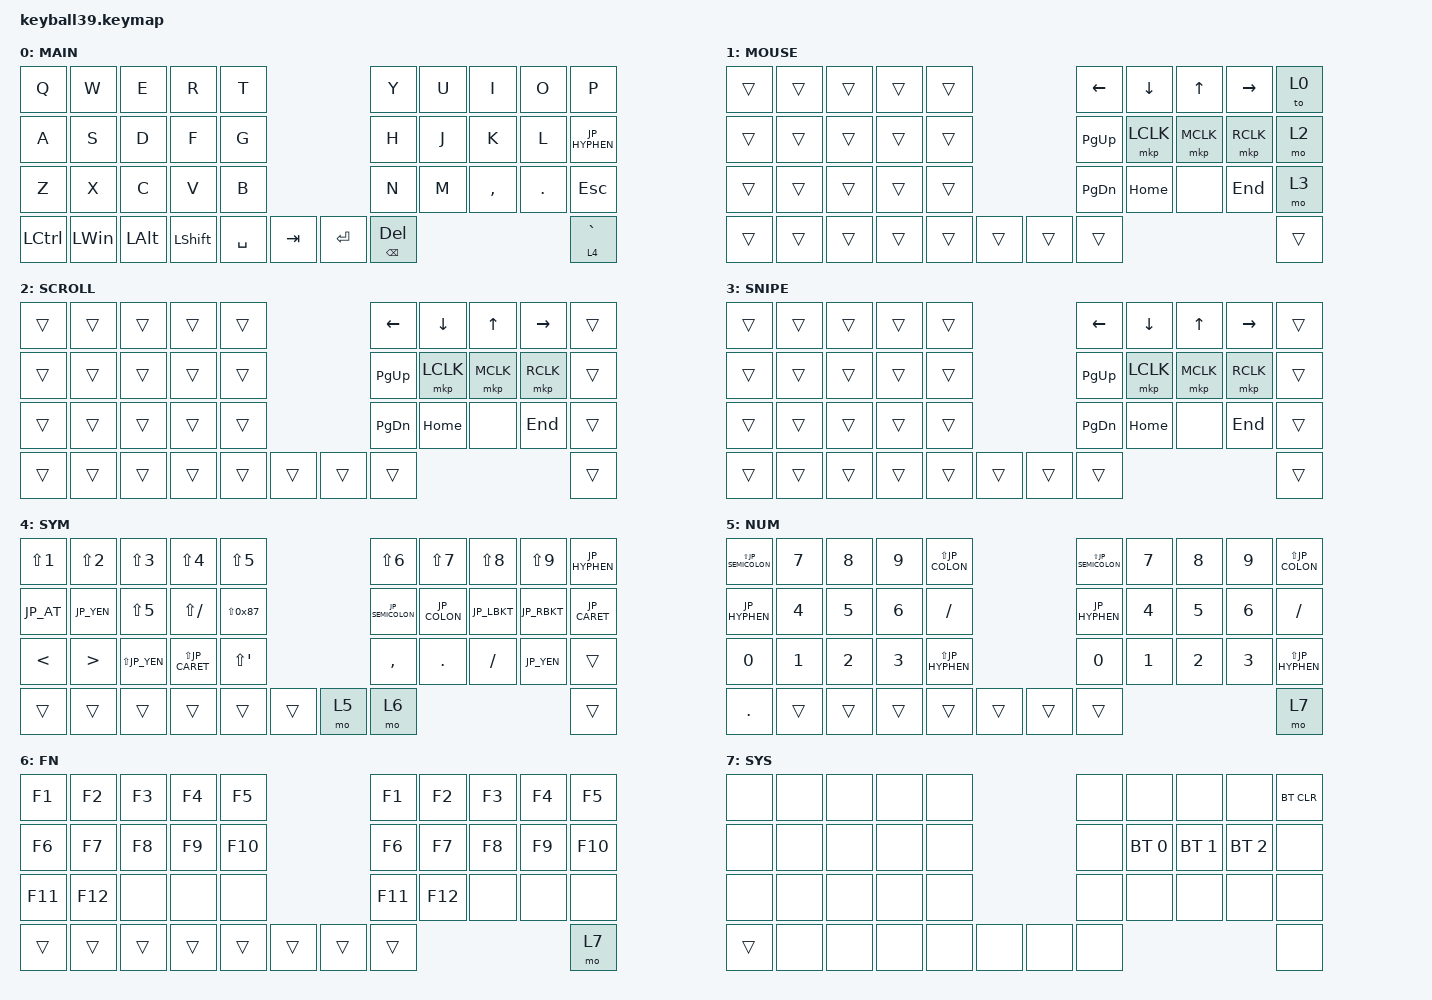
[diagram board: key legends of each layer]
#define MAIN_LAYER   0
#define MOUSE_LAYER  1
#define SCROLL_LAYER 2
#define SNIPE_LAYER  3
#define SYM_LAYER    4
#define NUM_LAYER    5
#define FN_LAYER     6
#define SYS_LAYER    7

#include <behaviors/mouse_keys.dtsi>
#include <dt-bindings/zmk/mouse.h>
#include <behaviors.dtsi>
#include <dt-bindings/zmk/bt.h>
#include <dt-bindings/zmk/keys.h>

/* jp JIS symbols */
#define JP_HYPHEN       0x2D
#define JP_CARET        0x2E
#define JP_AT           0x2F
#define JP_LBKT         0x30
#define JP_RBKT         0x31
#define JP_SEMICOLON    0x33
#define JP_COLON        0x34
#define JP_COMMA        0x36
#define JP_PERIOD       0x37
#define JP_SLASH        0x38
#define JP_YEN          0x89

/*
 * Hold-tap の共通値:
 * - tapping-term-ms: 長押しとみなすまでの時間 (ms)
 * - quick-tap-ms: すぐ離した時の短押し判定を少しだけ安全にする余裕 (ms)
 */
#define HOLD_TAP_TAPPING_TERM_MS  100
#define HOLD_TAP_QUICK_TAP_MS    50

/*
 * lt: 既存のレイヤー切替用behaviorsの拡張
 * 例) &lt 4 GRAVE
 * 長押しでレイヤー切替、短押しで通常キー
 */
&lt {
    tapping-term-ms = <HOLD_TAP_TAPPING_TERM_MS>;
    flavor = "hold-preferred";
    quick-tap-ms = <HOLD_TAP_QUICK_TAP_MS>;
};

/ {
    behaviors {
        /* 
         * key_holdtap: 通常キーを短押し/長押しで切り替える
         * 例) &kht BACKSPACE DELETE
         * 長押しで Backspace、短押しで Delete
         */
        kht: key_holdtap {
            compatible = "zmk,behavior-hold-tap";
            label = "KEY_HOLDTAP";
            #binding-cells = <2>;
            bindings = <&kp>, <&kp>;
            tapping-term-ms = <HOLD_TAP_TAPPING_TERM_MS>;
            quick-tap-ms = <HOLD_TAP_QUICK_TAP_MS>;
            flavor = "tap-preferred";
        };
    };
    keymap {
        compatible = "zmk,keymap";

        main_layer {
            label = "MAIN";
            bindings = <
&kp Q      &kp W         &kp E     &kp R      &kp T                          &kp Y                  &kp U  &kp I      &kp O    &kp P
&kp A      &kp S         &kp D     &kp F      &kp G                          &kp H                  &kp J  &kp K      &kp L    &kp JP_HYPHEN
&kp Z      &kp X         &kp C     &kp V      &kp B                          &kp N                  &kp M  &kp COMMA  &kp DOT  &kp ESCAPE
&kp LCTRL  &kp LEFT_WIN  &kp LALT  &kp LSHFT  &kp SPACE  &kp TAB  &kp ENTER  &kht BACKSPACE DELETE                             &lt 4 GRAVE
            >;
        };

        mouse_layer {
            label = "MOUSE";
            bindings = <
&trans  &trans  &trans  &trans  &trans                  &kp LEFT_ARROW  &kp DOWN_ARROW  &kp UP_ARROW  &kp RIGHT_ARROW  &to 0
&trans  &trans  &trans  &trans  &trans                  &kp PAGE_UP     &mkp LCLK       &mkp MCLK     &mkp RCLK        &mo 2
&trans  &trans  &trans  &trans  &trans                  &kp PAGE_DOWN   &kp HOME        &none         &kp END          &mo 3
&trans  &trans  &trans  &trans  &trans  &trans  &trans  &trans                                                         &trans
            >;
        };

        scroll_layer {
            label = "SCROLL";
            bindings = <
&trans  &trans  &trans  &trans  &trans                  &kp LEFT_ARROW  &kp DOWN_ARROW  &kp UP_ARROW  &kp RIGHT_ARROW  &trans
&trans  &trans  &trans  &trans  &trans                  &kp PAGE_UP     &mkp LCLK       &mkp MCLK     &mkp RCLK        &trans
&trans  &trans  &trans  &trans  &trans                  &kp PAGE_DOWN   &kp HOME        &none         &kp END          &trans
&trans  &trans  &trans  &trans  &trans  &trans  &trans  &trans                                                         &trans
            >;
        };

        snipe_layer {
            label = "SNIPE";
            bindings = <
&trans  &trans  &trans  &trans  &trans                  &kp LEFT_ARROW  &kp DOWN_ARROW  &kp UP_ARROW  &kp RIGHT_ARROW  &trans
&trans  &trans  &trans  &trans  &trans                  &kp PAGE_UP     &mkp LCLK       &mkp MCLK     &mkp RCLK        &trans
&trans  &trans  &trans  &trans  &trans                  &kp PAGE_DOWN   &kp HOME        &none         &kp END          &trans
&trans  &trans  &trans  &trans  &trans  &trans  &trans  &trans                                                         &trans
            >;
        };

        symbol_layer {
            label = "SYM";
            bindings = <
&kp LS(N1)     &kp LS(N2)        &kp LS(N3)      &kp LS(N4)        &kp LS(N5)                           &kp LS(N6)        &kp LS(N7)    &kp LS(N8)   &kp LS(N9)   &kp JP_HYPHEN
&kp JP_AT      &kp JP_YEN        &kp LS(N5)      &kp LS(SLASH)     &kp LS(0x87)                         &kp JP_SEMICOLON  &kp JP_COLON  &kp JP_LBKT  &kp JP_RBKT  &kp JP_CARET
&kp LESS_THAN  &kp GREATER_THAN  &kp LS(JP_YEN)  &kp LS(JP_CARET)  &kp LS(SINGLE_QUOTE)                 &kp COMMA         &kp PERIOD    &kp SLASH    &kp JP_YEN   &trans
&trans         &trans            &trans          &trans            &trans                &trans  &mo 5  &mo 6                                                     &trans
            >;
        };

        num_layer {
            label = "NUM";
            bindings = <
&kp LS(JP_SEMICOLON)  &kp N7  &kp N8  &kp N9  &kp LS(JP_COLON)                   &kp LS(JP_SEMICOLON)  &kp N7  &kp N8  &kp N9  &kp LS(JP_COLON)
&kp JP_HYPHEN         &kp N4  &kp N5  &kp N6  &kp SLASH                          &kp JP_HYPHEN         &kp N4  &kp N5  &kp N6  &kp SLASH
&kp N0                &kp N1  &kp N2  &kp N3  &kp LS(JP_HYPHEN)                  &kp N0                &kp N1  &kp N2  &kp N3  &kp LS(JP_HYPHEN)
&kp DOT               &trans  &trans  &trans  &trans             &trans  &trans  &trans                                        &mo 7
            >;
        };

        fn_layer {
            label = "FN";
            bindings = <
&kp F1   &kp F2   &kp F3   &kp F4   &kp F5                  &kp F1   &kp F2   &kp F3  &kp F4  &kp F5
&kp F6   &kp F7   &kp F8   &kp F9   &kp F10                 &kp F6   &kp F7   &kp F8  &kp F9  &kp F10
&kp F11  &kp F12  &none    &none    &none                   &kp F11  &kp F12  &none   &none   &none
&trans   &trans   &trans   &trans   &trans  &trans  &trans  &trans                            &mo 7
            >;
        };

        sys_layer {
            label = "SYS";
            bindings = <
&none   &none  &none  &none  &none                &none  &none         &none         &none         &bt BT_CLR
&none   &none  &none  &none  &none                &none  &bt BT_SEL 0  &bt BT_SEL 1  &bt BT_SEL 2  &none
&none   &none  &none  &none  &none                &none  &none         &none         &none         &none
&trans  &none  &none  &none  &none  &none  &none  &none                                            &none
            >;
        };
    };
};
